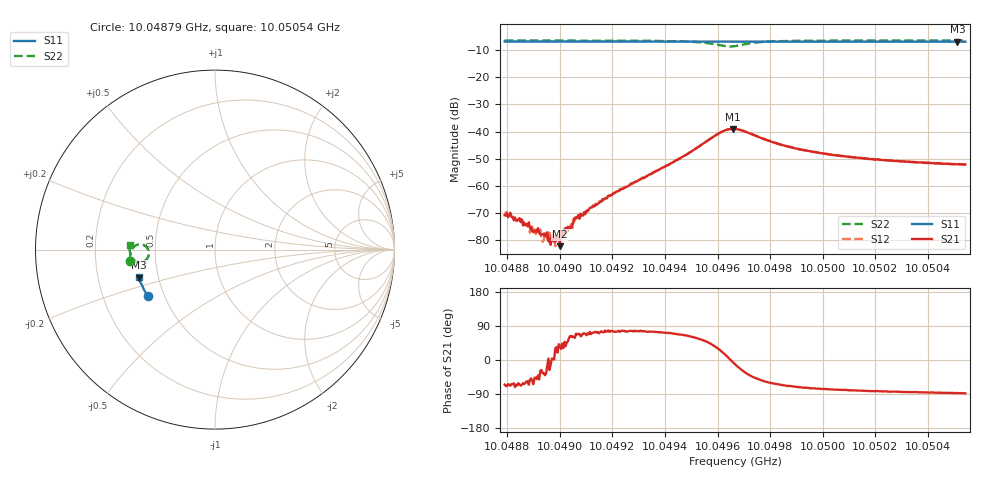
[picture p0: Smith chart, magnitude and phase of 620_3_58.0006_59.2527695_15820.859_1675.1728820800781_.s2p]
#  HZ  S  RI  R  50.00
! Rohde & Schwarz Vector Network Analyzer
! Rohde-Schwarz,ZNB20-2Port,1311601062101988,3.16
! Created: UTC 3/21/2024, 1:18:06 AM
! freq[Hz]  re:S11  im:S11  re:S21  im:S21  re:S12  im:S12  re:S22  im:S22
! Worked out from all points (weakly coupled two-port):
!   401 points, 10.04879 GHz to 10.05054 GHz, reference 50 ohm
!   highest |S21| = -39.02 dB at 10.04966 GHz (marker M1); lowest = -82.3 dB at 10.049 GHz (marker M2)
!   lowest |S11| = -6.9 dB at 10.05051 GHz (marker M3), VSWR 2.65, Z = 19.4 - j7.58 ohm
!   |S11| at or under -10 dB: nowhere
!   |S22| runs from -8.7 to -6.4 dB; largest |S21 - S12| = 0.00082
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1.004879e10  -0.376 -0.2571  0.000121 -0.000258  0.000131 -0.000257  -0.4719 -0.0652
1.0048808e10  -0.3764 -0.256  0.00012 -0.000262  0.000129 -0.00026  -0.4721 -0.0638
1.0048838e10  -0.3777 -0.2543  8.78e-05 -0.000209  0.000113 -0.0002  -0.4721 -0.0615
1.004886e10  -0.3785 -0.2531  8.85e-05 -0.000162  0.000111 -0.000177  -0.4723 -0.0597
1.0048904e10  -0.38 -0.2506  0.000102 -0.000107  0.000117 -0.000117  -0.4724 -0.0562
1.0048939e10  -0.3811 -0.2486  0.000109 -7.43e-05  9.73e-05 -2.66e-05  -0.4726 -0.0534
1.0048965e10  -0.382 -0.2472  8e-05 -1.72e-05  9.23e-05 -2.1e-05  -0.4727 -0.0511
1.0048987e10  -0.3829 -0.2459  9.21e-05 6.2e-05  9.85e-05 4.19e-05  -0.4728 -0.0494
1.0049e10  -0.3833 -0.245  6.09e-05 4.72e-05  0.000106 9.65e-05  -0.4728 -0.0482
1.004904e10  -0.3846 -0.2429  7.33e-05 0.000147  0.000104 0.000144  -0.4728 -0.0448
1.0049062e10  -0.3852 -0.2417  8.86e-05 0.000239  0.000121 0.000235  -0.4729 -0.0427
1.0049084e10  -0.3862 -0.2404  0.000121 0.000254  0.000106 0.000281  -0.4729 -0.0408
1.0049211e10  -0.3903 -0.2332  0.000205 0.000727  0.000129 0.000726  -0.4722 -0.0282
1.0049377e10  -0.3954 -0.2234  0.000558 0.00192  0.00045 0.00191  -0.4671 -0.0066
1.0049609e10  -0.4015 -0.2093  0.00855 0.00418  0.00825 0.00469  -0.3873 0.019
1.0049657e10  -0.4027 -0.207  0.0111 -0.00105  0.0112 -0.000235  -0.3693 -0.0311
1.0049666e10  -0.4028 -0.2067  0.0109 -0.00214  0.0111 -0.00136  -0.3726 -0.0412
1.0049828e10  -0.4081 -0.1976  0.00258 -0.00535  0.00296 -0.00522  -0.4582 -0.0509
1.004996e10  -0.4117 -0.1897  0.00113 -0.00408  0.00138 -0.00403  -0.4705 -0.0276
1.0050253e10  -0.4191 -0.1716  0.000325 -0.0029  0.000501 -0.00289  -0.4752 0.00417
1.0050511e10  -0.4247 -0.1558  0.000132 -0.0025  0.000261 -0.00248  -0.4753 0.0253
1.0050542e10  -0.4255 -0.1538  8.12e-05 -0.00247  0.000236 -0.00245  -0.475 0.0277
